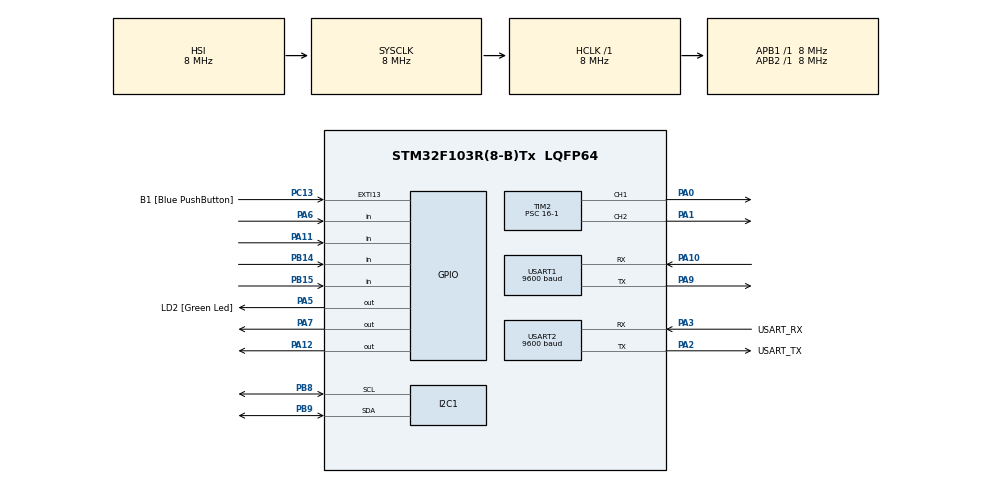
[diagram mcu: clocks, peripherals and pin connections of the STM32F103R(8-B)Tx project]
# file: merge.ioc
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Mcu.Family=STM32F1
Mcu.Name=STM32F103R(8-B)Tx
Mcu.Package=LQFP64
NVIC.EXTI15_10_IRQn=true\:0\:0\:false\:false\:true\:true\:true\:true
NVIC.PriorityGroup=NVIC_PRIORITYGROUP_4
NVIC.TIM1_CC_IRQn=true\:0\:0\:false\:false\:true\:true\:true\:true
NVIC.TIM1_UP_IRQn=true\:0\:0\:false\:false\:true\:true\:true\:true
NVIC.USART1_IRQn=true\:0\:0\:false\:false\:true\:true\:true\:true
NVIC.USART2_IRQn=true\:0\:0\:false\:false\:true\:true\:true\:true
PA0-WKUP.Signal=S_TIM2_CH1_ETR
PA1.Signal=S_TIM2_CH2
PA10.Mode=Asynchronous
PA10.Signal=USART1_RX
PA11.Signal=GPIO_Input
PA12.Signal=GPIO_Output
PA13.GPIO_Label=TMS
PA13.Mode=Serial_Wire
PA13.Signal=SYS_JTMS-SWDIO
PA14.GPIO_Label=TCK
PA14.Mode=Serial_Wire
PA14.Signal=SYS_JTCK-SWCLK
PA2.GPIO_Label=USART_TX
PA2.GPIO_Mode=GPIO_MODE_AF_PP
PA2.GPIO_PuPd=GPIO_NOPULL
PA2.GPIO_Speed=GPIO_SPEED_FREQ_LOW
PA2.Mode=Asynchronous
PA2.Signal=USART2_TX
PA3.GPIO_Label=USART_RX
PA3.GPIO_Mode=GPIO_MODE_AF_PP
PA3.GPIO_PuPd=GPIO_NOPULL
PA3.GPIO_Speed=GPIO_SPEED_FREQ_LOW
PA3.Mode=Asynchronous
PA3.Signal=USART2_RX
PA5.GPIO_Label=LD2 [Green Led]
PA5.GPIO_ModeDefaultOutputPP=GPIO_MODE_OUTPUT_PP
PA5.GPIO_PuPd=GPIO_NOPULL
PA5.GPIO_Speed=GPIO_SPEED_FREQ_LOW
PA5.Signal=GPIO_Output
PA6.Signal=GPIO_Input
PA7.Signal=GPIO_Output
PA9.Mode=Asynchronous
PA9.Signal=USART1_TX
PB14.GPIO_PuPd=GPIO_PULLUP
PB14.Signal=GPIO_Input
PB15.Signal=GPIO_Input
PB3.GPIO_Label=SWO
PB3.Signal=SYS_JTDO-TRACESWO
PB8.Mode=I2C
PB8.Signal=I2C1_SCL
PB9.Mode=I2C
PB9.Signal=I2C1_SDA
PC13-TAMPER-RTC.GPIO_Label=B1 [Blue PushButton]
PC13-TAMPER-RTC.GPIO_PuPd=GPIO_NOPULL
PC13-TAMPER-RTC.Signal=GPXTI13
PC14-OSC32_IN.Mode=LSE-External-Oscillator
PC14-OSC32_IN.Signal=RCC_OSC32_IN
PC15-OSC32_OUT.Mode=LSE-External-Oscillator
PC15-OSC32_OUT.Signal=RCC_OSC32_OUT
PD0-OSC_IN.Mode=HSE-External-Clock-Source
PD0-OSC_IN.Signal=RCC_OSC_IN
PD1-OSC_OUT.Mode=HSE-External-Clock-Source
PD1-OSC_OUT.Signal=RCC_OSC_OUT
ProjectManager.HeapSize=0x200
ProjectManager.StackSize=0x400
ProjectManager.TargetToolchain=STM32CubeIDE
RCC.AHBFreq_Value=8000000
RCC.APB1Freq_Value=8000000
RCC.APB1TimFreq_Value=8000000
RCC.APB2Freq_Value=8000000
RCC.APB2TimFreq_Value=8000000
RCC.HCLKFreq_Value=8000000
RCC.PLLMUL=RCC_PLL_MUL16
RCC.RTCClockSelection=RCC_RTCCLKSOURCE_LSE
RCC.SYSCLKFreq_VALUE=8000000
RCC.USBFreq_Value=64000000
SH.S_TIM2_CH1_ETR.0=TIM2_CH1,PWM Generation1 CH1
SH.S_TIM2_CH2.0=TIM2_CH2,PWM Generation2 CH2
TIM1.Prescaler=8-1
TIM2.Channel-PWM\ Generation1\ CH1=TIM_CHANNEL_1
TIM2.Channel-PWM\ Generation2\ CH2=TIM_CHANNEL_2
TIM2.Period=10000-1
TIM2.Prescaler=16-1
USART1.BaudRate=9600
USART1.VirtualMode=VM_ASYNC
USART2.BaudRate=9600
USART2.VirtualMode=VM_ASYNC
VP_TIM1_VS_ClockSourceINT.Mode=Internal
board=NUCLEO-F103RB

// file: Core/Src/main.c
/* USER CODE BEGIN Header */
/**
  ******************************************************************************
  * @file           : main.c
  * @brief          : Main program body
  ******************************************************************************
  * @attention
  *
  * Copyright (c) 2024 STMicroelectronics.
  * All rights reserved.
  *
  * This software is licensed under terms that can be found in the LICENSE file
  * in the root directory of this software component.
  * If no LICENSE file comes with this software, it is provided AS-IS.
  *
  ******************************************************************************
  */
/* USER CODE END Header */
#include "main.h"
#include "i2c.h"
#include "tim.h"
#include "usart.h"
#include "gpio.h"

/* USER CODE BEGIN Includes */
#include<stdio.h>
#include<string.h>
#include "mlx.h"
/* USER CODE END Includes */

void SystemClock_Config(void);
/* USER CODE BEGIN PFP */
int _write(int fd, char *ptr, int len)
{
	HAL_UART_Transmit(&huart2, (unsigned char*)ptr, len, HAL_MAX_DELAY);
	return len;
}

int _read(int file, char *ptr, int len)
{
	HAL_UART_Receive(&huart2, (unsigned char*)ptr, len, HAL_MAX_DELAY);
	return len;
}

int __io_putchar(int ch)
{
	HAL_UART_Transmit(&huart2, (unsigned char*)&ch, 1, HAL_MAX_DELAY);
	return ch;
}

int __io_getchar(void)
{
	uint8_t ch = 0;
	HAL_UART_Receive(&huart2, (uint8_t *)&ch, 1, HAL_MAX_DELAY);
	return ch;
}

/* USER CODE END PFP */

/* USER CODE BEGIN 0 */

// -------- ESP section START -----------------------

#define UART_RX_BUFFER_SIZE 1024
#define true 1
#define false 0

uint8_t BBOX[1024] = {0, };
uint8_t buff;
volatile uint8_t BBOX_count = 0;

uint8_t Rx_buffer[1024];
uint16_t Rx_Head = 0;
uint16_t Rx_Tail = 0;

void WriteBuffer(uint8_t buff){
	Rx_buffer[Rx_Head] = buff;
	Rx_Head = (Rx_Head + 1) % UART_RX_BUFFER_SIZE;
	if(Rx_Head == Rx_Tail)
		Rx_Tail = (Rx_Tail + 1) % UART_RX_BUFFER_SIZE;
}

uint8_t ReadBuffer(){
	if(Rx_Tail == Rx_Head)
		return 0;
	uint8_t data = Rx_buffer[Rx_Tail];
	Rx_Tail = (Rx_Tail + 1) % UART_RX_BUFFER_SIZE;
	return data;

//	-------- HOW TO USE START ------------
//	uint8_t data = ReadBuffer();
//	if(data != 0)
//		printf("%c", data);
//	-------- HOW TO USE END ---------------

}

uint8_t Send_sign[] = "send fail\r\n";
uint8_t Success_sign[] = "success\r\n";
uint8_t Error_sign[] = "error\r\n";
uint8_t None_sign[] = "none\r\n";

uint8_t AT_COMMAND(uint8_t *cmd, uint8_t repeat, uint16_t timeout){
	while(repeat > 0){
		memset(BBOX, 0, sizeof(BBOX));
		BBOX_count = 0;
		if(HAL_UART_Transmit(&huart1, cmd, strlen((char *)cmd), 100) == HAL_OK) {
			break;
		}
		repeat--;
	}
	if(repeat == 0){
		return false;
	}
	while(timeout > 0){

		if (strstr((char *)BBOX, "OK") != 0){
			return true;
		}
		// I changed ERROR -> FAIL
		else if (strstr((char *)BBOX, "FAIL") != 0){

			return false;
		}

		timeout -= 10;
		HAL_Delay(10);
	}
	return false;
}

// AT
uint8_t SendAT() {
	uint8_t res = AT_COMMAND((uint8_t *)"AT\r\n", 10, 1000);
	if(res)
		return false;
	return true;
}

// AT+RST
uint8_t EspReset() {
	uint8_t res = AT_COMMAND((uint8_t *)"AT+RST\r\n", 10, 10000);
	if(res)
		return false;
	return true;
}

// AT CWJAP
uint8_t WifiAccess() {
	uint8_t res = AT_COMMAND((uint8_t *)"AT+CWJAP=\"801em1\",\"ssafy1357\"\r\n" , 10, 1000);
//	uint8_t res = AT_COMMAND((uint8_t *)"AT+CWJAP=\"vnqzl\",\"104vnqzl\"" , 10, 1000);
	if(res)
		return false;
	return true;
}

uint8_t ConnectTcp(uint8_t is_MUX, uint8_t target) {
	uint8_t res = 0U;
	if(is_MUX) { // multi
		if(target == 0) { // rasp
			res = AT_COMMAND((uint8_t *)"AT+CIPSTART=0,\"TCP\",\"192.168.0.41\",12345\r\n", 10, 1000);
		}
		else { // AWS
			res = AT_COMMAND((uint8_t *)"AT+CIPSTART=1,\"TCP\",\"0.0.0.0\",0\r\n", 10, 1000);
		}
	}
	else { // single
		res = AT_COMMAND((uint8_t *)"AT+CIPSTART=0,\"TCP\",\"192.168.0.41\",12345\r\n", 10, 1000);
	}

	if(res)
		return false;
	return true;
}

// Rasp Send data size & data // target => 0 is rasp // 1 is AWS    // data is real data
uint8_t SendData(uint8_t size, uint8_t is_MUX, uint8_t target, uint8_t * data) {
	uint8_t str[128] = {0, };
	uint8_t res = 0U;
	uint8_t res1 = 0U;

	if(is_MUX == 0) {
		sprintf((char *)str, "AT+CIPSEND=%u\r\n", size);

		res = AT_COMMAND(str, 10, 1000);

		res1 = AT_COMMAND(data, 10, 1000);
	}
	else {
		sprintf((char *)str, "AT+CIPSEND=%u,%u\r\n", target, size);

		res = AT_COMMAND(str, 10, 1000);

		res1 = AT_COMMAND(data, 10, 1000);
	}

	if(res || res1)
		return false;
	return true;
}

// MUX mode
uint8_t SetMux(uint8_t flag) {
	uint8_t res = 0U;

	if(flag) { // MUX
		res = AT_COMMAND((uint8_t *)"AT+MUX=1\r\n", 10, 1000);
	}
	else {
		res = AT_COMMAND((uint8_t *)"AT+MUX=0\r\n", 10, 1000);
	}
	if(res)
		return false;
	return true;
}

uint8_t RaspiTCPSocketAccess() {
	uint8_t res = AT_COMMAND((uint8_t *)"AT+CIPSTART=\"TCP\",\"192.168.0.41\",12345\r\n" , 10, 1000);
	if(res)
		return false;
	return true;
}

void HAL_UART_RxCpltCallback(UART_HandleTypeDef *huart) {
	if(huart->Instance == USART1) {
		// !!!- DO not printf Here -!!!
		BBOX[BBOX_count++] = buff;
		WriteBuffer(buff);
		HAL_UART_Receive_IT(huart, &buff, 1);
	}

}

// -------- ESP section END ---------------------

// --------- SONAR section START -----------------
uint32_t overflows = 0U;

void HAL_TIM_PeriodElapsedCallback(TIM_HandleTypeDef *htim) { // ?��?��?��?��?�� ?��?��
	if(htim->Instance == TIM1) {
		overflows++;
	}
}

uint32_t GetMicroSec(void){ // ?��?��?��?��?�� ?��?��
	uint32_t count = __HAL_TIM_GET_COUNTER(&htim1);
	uint32_t overflow = overflows;
	if (__HAL_TIM_GET_FLAG(&htim1, TIM_FLAG_UPDATE) && (count < 0x8000)) {
	        overflow++;
	}

	return(overflow << 16) + count;
}
// ---------- SONAR section END -----------------

/* USER CODE END 0 */

int main(void)
{
  /* USER CODE BEGIN 1 */

// -------------- printf section START --------------------
	setvbuf(stdin, NULL, _IONBF, 0);
	setvbuf(stdout, NULL, _IONBF, 0);
// -------------- printf section END --------------------

  /* USER CODE END 1 */

  /* MCU Configuration--------------------------------------------------------*/

  /* Reset of all peripherals, Initializes the Flash interface and the Systick. */
  HAL_Init();

  /* Configure the system clock */
  SystemClock_Config();

  /* Initialize all configured peripherals */
  MX_GPIO_Init();
  MX_USART2_UART_Init();
  MX_USART1_UART_Init();
  MX_I2C1_Init();
  MX_TIM1_Init();
  MX_TIM2_Init();
  /* USER CODE BEGIN 2 */

// --------------- ESP Section START ------------------------

  // Wait for Interrupt
  HAL_UART_Receive_IT(&huart1, &buff, 1);

// --------------- ESP Section END ------------------------

// ---------------- Servo Section START --------------------

HAL_TIM_PWM_Start(&htim2,TIM_CHANNEL_1);
HAL_TIM_PWM_Start(&htim2,TIM_CHANNEL_2);

// --------------- Servo Section END --------------

// ---------------- Tilt Section START -------------------
uint32_t is_horizon = 0U;
// ---------------- Tilt Section START -------------------

  /* USER CODE END 2 */

  /* Infinite loop */
  /* USER CODE BEGIN WHILE */

// -------------- SONAR Section START --------------------
  HAL_TIM_Base_Init(&htim1);         // ?��?��?��?��?�� ?��?��
  __HAL_TIM_SET_COUNTER(&htim1, 0);  // ?��?��?��?��?�� ?��?��
  HAL_TIM_Base_Start_IT(&htim1);     // ?��?��?��?��?�� ?��?��

  uint32_t st;
  uint32_t ed;
  uint32_t diff;
  float distance;
// -------------- SONAR Section END ----------------------

  while (1)
  {
    /* USER CODE END WHILE */

    /* USER CODE BEGIN 3 */

// ----------------  SONAR Section START -------------------------------
	  HAL_GPIO_WritePin(GPIOA, GPIO_PIN_8, RESET);
	  HAL_Delay(5);
	  HAL_GPIO_WritePin(GPIOA, GPIO_PIN_8, SET);
	  HAL_Delay(20);
	  HAL_GPIO_WritePin(GPIOA, GPIO_PIN_8, RESET);

	  //printf("right after : %lu\r\n", HAL_GPIO_ReadPin(GPIOA, GPIO_PIN_9));

	  while(HAL_GPIO_ReadPin(GPIOA, GPIO_PIN_9)==GPIO_PIN_RESET);
	  st = GetMicroSec();
	  while(HAL_GPIO_ReadPin(GPIOA, GPIO_PIN_9)==GPIO_PIN_SET);
	  ed = GetMicroSec();

	  diff = ed -st;
	  distance = diff * 0.034 /2;
	  printf("%.3f\r\n", distance);
// ----------------  SONAR Section START -------------------------------

// ----------------  MLX Section START ---------------------------------

	  temperature = MLX90614_ReadTemperature();
	  printf("temperature : %f \r\n", temperature);

// ---------------  MLX Section END ------------------------------------

// --------------- Servo Section START ---------------------------------
      __HAL_TIM_SET_COMPARE(&htim2, TIM_CHANNEL_1, 500);

      HAL_Delay(500);

      __HAL_TIM_SET_COMPARE(&htim2, TIM_CHANNEL_1, 750);

      HAL_Delay(500);

      __HAL_TIM_SET_COMPARE(&htim2, TIM_CHANNEL_1, 1000);

      HAL_Delay(500);
// --------------- Servo Section END ---------------------------------

// --------------- Tilt Section START ----------------------------
	  is_horizon = HAL_GPIO_ReadPin(GPIOA, GPIO_PIN_8);
	  printf("Digital Read test\r\n");
	  printf("is_horizon : %lu\r\n", is_horizon);
// --------------- Tilt Section START ----------------------------

  }
  /* USER CODE END 3 */
}

void SystemClock_Config(void)
{
  RCC_OscInitTypeDef RCC_OscInitStruct = {0};
  RCC_ClkInitTypeDef RCC_ClkInitStruct = {0};

  /** Initializes the RCC Oscillators according to the specified parameters
  * in the RCC_OscInitTypeDef structure.
  */
  RCC_OscInitStruct.OscillatorType = RCC_OSCILLATORTYPE_HSI;
  RCC_OscInitStruct.HSIState = RCC_HSI_ON;
  RCC_OscInitStruct.HSICalibrationValue = RCC_HSICALIBRATION_DEFAULT;
  RCC_OscInitStruct.PLL.PLLState = RCC_PLL_NONE;
  if (HAL_RCC_OscConfig(&RCC_OscInitStruct) != HAL_OK)
  {
    Error_Handler();
  }

  /** Initializes the CPU, AHB and APB buses clocks
  */
  RCC_ClkInitStruct.ClockType = RCC_CLOCKTYPE_HCLK|RCC_CLOCKTYPE_SYSCLK
                              |RCC_CLOCKTYPE_PCLK1|RCC_CLOCKTYPE_PCLK2;
  RCC_ClkInitStruct.SYSCLKSource = RCC_SYSCLKSOURCE_HSI;
  RCC_ClkInitStruct.AHBCLKDivider = RCC_SYSCLK_DIV1;
  RCC_ClkInitStruct.APB1CLKDivider = RCC_HCLK_DIV1;
  RCC_ClkInitStruct.APB2CLKDivider = RCC_HCLK_DIV1;

  if (HAL_RCC_ClockConfig(&RCC_ClkInitStruct, FLASH_LATENCY_0) != HAL_OK)
  {
    Error_Handler();
  }
}

void Error_Handler(void)
{
  __disable_irq();
  while (1)
  {
  }
}
